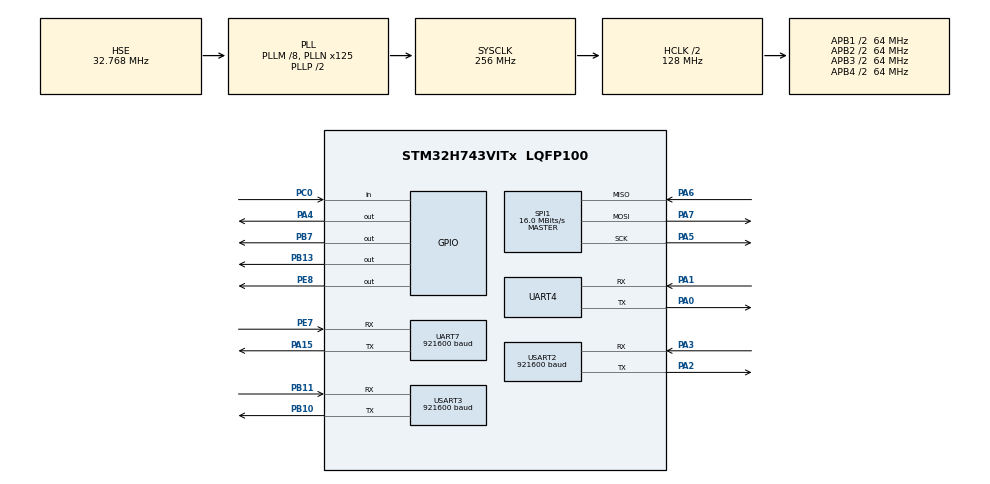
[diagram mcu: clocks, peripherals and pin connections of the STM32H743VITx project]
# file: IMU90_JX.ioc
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CORTEX_M7.default_mode_Activation=1
Dma.Request0=USART2_TX
Dma.Request1=USART3_TX
Dma.Request2=UART4_TX
Dma.Request3=UART7_RX
Dma.UART4_TX.2.Direction=DMA_MEMORY_TO_PERIPH
Dma.UART4_TX.2.EventEnable=DISABLE
Dma.UART4_TX.2.FIFOMode=DMA_FIFOMODE_DISABLE
Dma.UART4_TX.2.Instance=DMA1_Stream2
Dma.UART4_TX.2.MemDataAlignment=DMA_MDATAALIGN_BYTE
Dma.UART4_TX.2.MemInc=DMA_MINC_ENABLE
Dma.UART4_TX.2.Mode=DMA_NORMAL
Dma.UART4_TX.2.PeriphDataAlignment=DMA_PDATAALIGN_BYTE
Dma.UART4_TX.2.PeriphInc=DMA_PINC_DISABLE
Dma.UART4_TX.2.Polarity=HAL_DMAMUX_REQ_GEN_RISING
Dma.UART4_TX.2.Priority=DMA_PRIORITY_LOW
Dma.UART4_TX.2.RequestNumber=1
Dma.UART4_TX.2.SignalID=NONE
Dma.UART4_TX.2.SyncEnable=DISABLE
Dma.UART4_TX.2.SyncPolarity=HAL_DMAMUX_SYNC_NO_EVENT
Dma.UART4_TX.2.SyncRequestNumber=1
Dma.UART4_TX.2.SyncSignalID=NONE
Dma.UART7_RX.3.Direction=DMA_PERIPH_TO_MEMORY
Dma.UART7_RX.3.EventEnable=DISABLE
Dma.UART7_RX.3.FIFOMode=DMA_FIFOMODE_DISABLE
Dma.UART7_RX.3.Instance=DMA1_Stream3
Dma.UART7_RX.3.MemDataAlignment=DMA_MDATAALIGN_BYTE
Dma.UART7_RX.3.MemInc=DMA_MINC_ENABLE
Dma.UART7_RX.3.Mode=DMA_NORMAL
Dma.UART7_RX.3.PeriphDataAlignment=DMA_PDATAALIGN_BYTE
Dma.UART7_RX.3.PeriphInc=DMA_PINC_DISABLE
Dma.UART7_RX.3.Polarity=HAL_DMAMUX_REQ_GEN_RISING
Dma.UART7_RX.3.Priority=DMA_PRIORITY_HIGH
Dma.UART7_RX.3.RequestNumber=1
Dma.UART7_RX.3.SignalID=NONE
Dma.UART7_RX.3.SyncEnable=DISABLE
Dma.UART7_RX.3.SyncPolarity=HAL_DMAMUX_SYNC_NO_EVENT
Dma.UART7_RX.3.SyncRequestNumber=1
Dma.UART7_RX.3.SyncSignalID=NONE
Dma.USART2_TX.0.Direction=DMA_MEMORY_TO_PERIPH
Dma.USART2_TX.0.EventEnable=DISABLE
Dma.USART2_TX.0.FIFOMode=DMA_FIFOMODE_DISABLE
Dma.USART2_TX.0.Instance=DMA1_Stream1
Dma.USART2_TX.0.MemDataAlignment=DMA_MDATAALIGN_BYTE
Dma.USART2_TX.0.MemInc=DMA_MINC_ENABLE
Dma.USART2_TX.0.Mode=DMA_NORMAL
Dma.USART2_TX.0.PeriphDataAlignment=DMA_PDATAALIGN_BYTE
Dma.USART2_TX.0.PeriphInc=DMA_PINC_DISABLE
Dma.USART2_TX.0.Polarity=HAL_DMAMUX_REQ_GEN_RISING
Dma.USART2_TX.0.Priority=DMA_PRIORITY_LOW
Dma.USART2_TX.0.RequestNumber=1
Dma.USART2_TX.0.SignalID=NONE
Dma.USART2_TX.0.SyncEnable=DISABLE
Dma.USART2_TX.0.SyncPolarity=HAL_DMAMUX_SYNC_NO_EVENT
Dma.USART2_TX.0.SyncRequestNumber=1
Dma.USART2_TX.0.SyncSignalID=NONE
Dma.USART3_TX.1.Direction=DMA_MEMORY_TO_PERIPH
Dma.USART3_TX.1.EventEnable=DISABLE
Dma.USART3_TX.1.FIFOMode=DMA_FIFOMODE_DISABLE
Dma.USART3_TX.1.Instance=DMA1_Stream0
Dma.USART3_TX.1.MemDataAlignment=DMA_MDATAALIGN_BYTE
Dma.USART3_TX.1.MemInc=DMA_MINC_ENABLE
Dma.USART3_TX.1.Mode=DMA_NORMAL
Dma.USART3_TX.1.PeriphDataAlignment=DMA_PDATAALIGN_BYTE
Dma.USART3_TX.1.PeriphInc=DMA_PINC_DISABLE
Dma.USART3_TX.1.Polarity=HAL_DMAMUX_REQ_GEN_RISING
Dma.USART3_TX.1.Priority=DMA_PRIORITY_LOW
Dma.USART3_TX.1.RequestNumber=1
Dma.USART3_TX.1.SignalID=NONE
Dma.USART3_TX.1.SyncEnable=DISABLE
Dma.USART3_TX.1.SyncPolarity=HAL_DMAMUX_SYNC_NO_EVENT
Dma.USART3_TX.1.SyncRequestNumber=1
Dma.USART3_TX.1.SyncSignalID=NONE
Mcu.Family=STM32H7
Mcu.Name=STM32H743VITx
Mcu.Package=LQFP100
NVIC.DMA1_Stream0_IRQn=true\:0\:0\:false\:false\:true\:false\:true\:true
NVIC.DMA1_Stream1_IRQn=true\:0\:0\:false\:false\:true\:false\:true\:true
NVIC.DMA1_Stream2_IRQn=true\:0\:0\:false\:false\:true\:false\:true\:true
NVIC.DMA1_Stream3_IRQn=true\:0\:0\:false\:false\:true\:false\:true\:true
NVIC.PriorityGroup=NVIC_PRIORITYGROUP_4
NVIC.SPI1_IRQn=true\:0\:0\:false\:false\:true\:true\:true\:true
NVIC.TIM2_IRQn=true\:0\:0\:false\:false\:true\:true\:true\:true
NVIC.TIM3_IRQn=true\:0\:0\:false\:false\:true\:true\:true\:true
NVIC.UART4_IRQn=true\:0\:0\:false\:false\:true\:true\:true\:true
NVIC.UART7_IRQn=true\:0\:0\:false\:false\:true\:true\:true\:true
NVIC.USART2_IRQn=true\:0\:0\:false\:false\:true\:true\:true\:true
NVIC.USART3_IRQn=true\:0\:0\:false\:false\:true\:true\:true\:true
PA0.Mode=Asynchronous
PA0.Signal=UART4_TX
PA1.Mode=Asynchronous
PA1.Signal=UART4_RX
PA15\ (JTDI).Mode=Asynchronous
PA15\ (JTDI).Signal=UART7_TX
PA2.Mode=Asynchronous
PA2.Signal=USART2_TX
PA3.Mode=Asynchronous
PA3.Signal=USART2_RX
PA4.Signal=GPIO_Output
PA5.Mode=Full_Duplex_Master
PA5.Signal=SPI1_SCK
PA6.Mode=Full_Duplex_Master
PA6.Signal=SPI1_MISO
PA7.Mode=Full_Duplex_Master
PA7.Signal=SPI1_MOSI
PB10.Mode=Asynchronous
PB10.Signal=USART3_TX
PB11.Mode=Asynchronous
PB11.Signal=USART3_RX
PB13.Signal=GPIO_Output
PB7.GPIO_PuPd=GPIO_PULLUP
PB7.Signal=GPIO_Output
PC0.GPIO_PuPd=GPIO_PULLUP
PC0.Signal=GPIO_Input
PE7.Mode=Asynchronous
PE7.Signal=UART7_RX
PE8.Signal=GPIO_Output
PH0-OSC_IN\ (PH0).Mode=HSE-External-Oscillator
PH0-OSC_IN\ (PH0).Signal=RCC_OSC_IN
PH1-OSC_OUT\ (PH1).Mode=HSE-External-Oscillator
PH1-OSC_OUT\ (PH1).Signal=RCC_OSC_OUT
ProjectManager.HeapSize=0x200
ProjectManager.StackSize=0x400
ProjectManager.TargetToolchain=MDK-ARM V5.32
RCC.ADCFreq_Value=256000000
RCC.APB1Freq_Value=64000000
RCC.APB2Freq_Value=64000000
RCC.APB3Freq_Value=64000000
RCC.APB4Freq_Value=64000000
RCC.CortexFreq_Value=256000000
RCC.D1PPRE=RCC_APB3_DIV2
RCC.D2PPRE1=RCC_APB1_DIV2
RCC.D2PPRE2=RCC_APB2_DIV2
RCC.D3PPRE=RCC_APB4_DIV2
RCC.DIVM1=8
RCC.DIVM2=8
RCC.DIVM3=8
RCC.DIVN1=125
RCC.DIVN2=125
RCC.DIVN3=125
RCC.DIVQ1=4
RCC.HCLKFreq_Value=128000000
RCC.HPRE=RCC_HCLK_DIV2
RCC.HSE_VALUE=32768000
RCC.PLLFRACN=0
RCC.PLLSourceVirtual=RCC_PLLSOURCE_HSE
RCC.PWR_Regulator_Voltage_Scale=PWR_REGULATOR_VOLTAGE_SCALE2
RCC.SYSCLKFreq_VALUE=256000000
RCC.SYSCLKSource=RCC_SYSCLKSOURCE_PLLCLK
RCC.USBFreq_Value=128000000
SPI1.BaudRatePrescaler=SPI_BAUDRATEPRESCALER_8
SPI1.CalculateBaudRate=16.0 MBits/s
SPI1.DataSize=SPI_DATASIZE_8BIT
SPI1.Direction=SPI_DIRECTION_2LINES
SPI1.Mode=SPI_MODE_MASTER
SPI1.TIMode=SPI_TIMODE_DISABLE
SPI1.VirtualType=VM_MASTER
TIM2.AutoReloadPreload=TIM_AUTORELOAD_PRELOAD_ENABLE
TIM2.ClockDivision=TIM_CLOCKDIVISION_DIV2
TIM2.Period=639
TIM2.Prescaler=9
TIM3.AutoReloadPreload=TIM_AUTORELOAD_PRELOAD_ENABLE
TIM3.ClockDivision=TIM_CLOCKDIVISION_DIV2
TIM3.Period=639
TIM3.Prescaler=9
UART7.BaudRate=921600
UART7.Parity=PARITY_EVEN
UART7.WordLength=WORDLENGTH_9B
USART2.BaudRate=921600
USART2.VirtualMode-Asynchronous=VM_ASYNC
USART3.BaudRate=921600
USART3.VirtualMode-Asynchronous=VM_ASYNC
VP_TIM2_VS_ClockSourceINT.Mode=Internal
VP_TIM3_VS_ClockSourceINT.Mode=Internal
board=custom

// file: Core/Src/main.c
/* USER CODE BEGIN Header */
/**
  ******************************************************************************
  * @file           : main.c
  * @brief          : Main program body
  ******************************************************************************
  * @attention
  *
  * Copyright (c) 2022 STMicroelectronics.
  * All rights reserved.
  *
  * This software is licensed under terms that can be found in the LICENSE file
  * in the root directory of this software component.
  * If no LICENSE file comes with this software, it is provided AS-IS.
  *
  ******************************************************************************
  */
/* USER CODE END Header */
#include "main.h"
#include "dma.h"
#include "spi.h"
#include "tim.h"
#include "usart.h"
#include "gpio.h"

/* USER CODE BEGIN Includes */
#include "sys.h"
#include "delay.h"
#include <string.h>
#include "bsp_ADXL355.h"
/* USER CODE END Includes */

void SystemClock_Config(void);
static void MPU_Config(void);

/* USER CODE BEGIN 0 */
extern uint8_t rx7_flag;
extern uint8_t rx7_size;          //receive length
extern uint8_t  rx7_buf[32];
//extern __attribute__((section (".RAM_D1"))) uint8_t  RX7_Data[32];
extern uint8_t  RX7_Data[32];
int32_t gx,gy,gz,wx,wy,wz;
float fgx,fgy,fgz;
int16_t te;
uint8_t zjs;
uint8_t GyroyOk;
int32_t ax,ay,az;
int32_t acce_data[3];

typedef struct {
    float b0, b1, b2, a1, a2;
    float b0_2, b1_2, b2_2, a1_2, a2_2;

    float x1, x2;
    float y1, y2;
    float x1_2, x2_2;
    float y1_2, y2_2;
} IIRFilter3rdOrder;

void IIRFilter3rdOrder_Init(IIRFilter3rdOrder *filter) {
    filter->b0 = 0.0097087378640777;
    filter->b1 = 0.029126213592233;
    filter->b2 = 0.029126213592233;
    filter->a1 = -1.561018075800718;
    filter->a2 = 0.641351538057563;

    filter->b0_2 = 1.0;
    filter->b1_2 = -1.7786312485217;
    filter->b2_2 = 0.800800564739853;
    filter->a1_2 = -1.8477590650226;
    filter->a2_2 = 0.8612094900000;

    filter->x1 = filter->x2 = 0.0f;
    filter->y1 = filter->y2 = 0.0f;
    filter->x1_2 = filter->x2_2 = 0.0f;
    filter->y1_2 = filter->y2_2 = 0.0f;
}

float IIRFilter3rdOrder_Process(IIRFilter3rdOrder *filter, float input) {
    float w = input - filter->a1 * filter->x1 - filter->a2 * filter->x2;
    float y = filter->b0 * w + filter->b1 * filter->x1 + filter->b2 * filter->x2;

    filter->x2 = filter->x1;
    filter->x1 = w;
    filter->y2 = filter->y1;
    filter->y1 = y;

    float w2 = y - filter->a1_2 * filter->x1_2 - filter->a2_2 * filter->x2_2;
    float y2 = filter->b0_2 * w2 + filter->b1_2 * filter->x1_2 + filter->b2_2 * filter->x2_2;

    filter->x2_2 = filter->x1_2;
    filter->x1_2 = w2;
    filter->y2_2 = filter->y1_2;
    filter->y1_2 = y2;

    return y2;
}

extern UART_HandleTypeDef huart2;
extern UART_HandleTypeDef huart3;
extern UART_HandleTypeDef huart4;
#define SEND_BUF_SIZE 64	//�������ݳ���,��õ���sizeof(TEXT_TO_SEND)+2��������.
uint8_t  SendBuff[SEND_BUF_SIZE]; //�������ݻ�����
int32_t nIMU[9];

void uart2_send();

// ...existing code...
/* USER CODE BEGIN 4 */

/**
 * A: 3x3 矩阵，类型 float
 * b: 3x1 矩阵，表示为二维数组 float b[3][1]
 * res: 输出 3x1 矩阵，表示为二维数组 float res[3][1]
 */
float A[3][3] = {
    {1.0f, 0.0f, 0.0f},
    {0.0f, 1.0f, 0.0f},
    {0.0f, 0.0f, 1.0f}
};
float res[3][1];
float b[3][1] = {
    {1.0f},
    {2.0f},
    {3.0f}
};
void mat3x3_mul_3x1(const float A[3][3], const float b[3][1], float res[3][1])
{
    for (int i = 0; i < 3; ++i) {
        res[i][0] = A[i][0] * b[0][0]
                  + A[i][1] * b[1][0]
                  + A[i][2] * b[2][0];
    }
}

/* USER CODE END 4 */
// ...existing code...

void led_run()
{
	static u32 cnt=0;
	static u32 cnt1=0;
	static u32 cnt2=0;

	//HAL_GPIO_TogglePin(GPIOC,GPIO_PIN_0);

	if(cnt>=9999)
	{
		cnt=0;
		HAL_GPIO_TogglePin(GPIOB,GPIO_PIN_7);
	}
	else
	{
		cnt++;
	}

//	if(cnt2>=9)
//	{
//		cnt2=0;
//		HAL_GPIO_TogglePin(GPIOE,GPIO_PIN_8);
//	}
//	else
//	{
//		cnt2++;
//	}

	if(cnt1>=99)
	{
		cnt1=0;
//		ADXL355_Data_Scan(acce_data);
//		ax=acce_data[0];
//		ay=acce_data[1];
//		az=acce_data[2];
//		uart2_send();
	}
	else
	{
		cnt1++;
	}
}

void timer_run()
{

}

void uart2_send()
{
	static uint8_t cnt=0;

	SendBuff[0]=0xAA;
	SendBuff[1]=0xAA;
	SendBuff[2]=0x00;
	SendBuff[3]=0xFF;
	SendBuff[30]=0;
	SendBuff[31]=0xBB;
	cnt++;
	SendBuff[2]=cnt;

  b[0][0]=(float)gx;
  b[1][0]=(float)gy;
  b[2][0]=(float)gz;
  mat3x3_mul_3x1(A, b, res);
  nIMU[3]=(int32_t)(res[2][0]);
  nIMU[4]=(int32_t)(res[1][0]);
  nIMU[5]=(int32_t)(res[0][0]);

//	nIMU[3]=gz;
//	nIMU[4]=gy;
//	nIMU[5]=gx;
	nIMU[0]=ax;
	nIMU[1]=ay;
	nIMU[2]=az;
	memcpy(SendBuff+4,nIMU,24);
	memcpy(SendBuff+28,&te,2);

	//SendBuff[26]=zjs;
	for(int i=2;i<30;i++)
  {
	   SendBuff[30] = SendBuff[30]+SendBuff[i];
	}
	HAL_UART_Transmit_DMA(&huart3,(uint8_t *)SendBuff,32);
//	SendBuff[0]=0xA5;
//	SendBuff[1]=0;
//	SendBuff[39]=0;
//	cnt++;
//	SendBuff[1]=cnt;
//
//	nIMU[0]=wz;
//	nIMU[1]=wy;
//	nIMU[2]=wx;
//	nIMU[3]=ax;
//	nIMU[4]=ay;
//	nIMU[5]=az;
//	nIMU[6]=gz;
//	nIMU[7]=gy;
//	nIMU[8]=gx;
//	memcpy(SendBuff+2,nIMU,36);
//
//	SendBuff[38]=zjs;
//	for(int i=1;i<39;i++)
//  {
//	   SendBuff[39] = SendBuff[39]+SendBuff[i];
//	}
	HAL_UART_Transmit_DMA(&huart2,(uint8_t *)SendBuff,28);
//	HAL_UART_Transmit_DMA(&huart3,(uint8_t *)SendBuff,28);
//	HAL_UART_Transmit_DMA(&huart4,(uint8_t *)SendBuff,28);
}

//void gyro_rec(void)
//{
//	uint8_t sum=0;
//	uint8_t i = 0;
//	uint32_t gdata;
//	uint16_t tdata;
//	static int32_t gx_o=0,gy_o=0,gz_o=0;
//	static uint8_t zjs_o=0;

//	if(rx7_flag==1)
//	{
//		rx7_flag = 0;

//		if(RX7_Data[0]==0xA5)
//		{
//			sum =  0;
//
//			for(i = 1;i < 16; i++)
//			{
//				sum += RX7_Data[i];
//			}
//			if(((sum & 0xff) == RX7_Data[16]))
//			{
//				GyroyOk = 1;
//				gdata  = (uint32_t)(RX7_Data[4]);
//				gdata |= (uint32_t)(RX7_Data[3])<<8;
//				gdata |= (uint32_t)(RX7_Data[2])<<16;
//				gdata |= (uint32_t)(RX7_Data[1])<<24;
//				memcpy(&gx,&gdata,4);
//				gdata  = (uint32_t)(RX7_Data[8]);
//				gdata |= (uint32_t)(RX7_Data[7])<<8;
//				gdata |= (uint32_t)(RX7_Data[6])<<16;
//				gdata |= (uint32_t)(RX7_Data[5])<<24;
//				memcpy(&gy,&gdata,4);
//				gdata  = (uint32_t)(RX7_Data[12]);
//				gdata |= (uint32_t)(RX7_Data[11])<<8;
//				gdata |= (uint32_t)(RX7_Data[10])<<16;
//				gdata |= (uint32_t)( RX7_Data[9])<<24;
//				memcpy(&gz,&gdata,4);
//
//				tdata  = (uint32_t)(RX7_Data[14]);
//				tdata |= (uint32_t)(RX7_Data[13])<<8;
//				memcpy(&te,&tdata,2);
//
//				zjs = RX7_Data[15];
//
////				wx=gx-gx_o;
////				wy=gy-gy_o;
////				wz=gz-gz_o;
////				gx_o=gx;
////				gy_o=gy;
////				gz_o=gz;
//		  }
//	  }
//	}
//}

void gyro_rec(void)
{
	uint8_t sum=0;
	uint8_t i = 0;
	uint32_t gdata;
	uint16_t tdata;

	if(rx7_flag==1)
	{
		rx7_flag = 0;

		if(RX7_Data[0]==0x80)
		{
			sum =  0;

			for(i = 1;i < 16; i++)
			{
				sum += RX7_Data[i];
			}
			if(((sum & 0x7f) == RX7_Data[16]))
			{
				GyroyOk = 1;
				gdata  = (uint32_t)(RX7_Data[4] & 0x7f)<<4;
				gdata |= (uint32_t)(RX7_Data[3] & 0x7f)<<11;
				gdata |= (uint32_t)(RX7_Data[2] & 0x7f)<<18;
				gdata |= (uint32_t)(RX7_Data[1] & 0x7f)<<25;
				memcpy(&gx,&gdata,4);
				gx=gx>>4;
				gdata  = (uint32_t)(RX7_Data[8] & 0x7f)<<4;
				gdata |= (uint32_t)(RX7_Data[7] & 0x7f)<<11;
				gdata |= (uint32_t)(RX7_Data[6] & 0x7f)<<18;
				gdata |= (uint32_t)(RX7_Data[5] & 0x7f)<<25;
				memcpy(&gy,&gdata,4);
				gy=gy>>4;
				gdata  = (uint32_t)(RX7_Data[12] & 0x7f)<<4;
				gdata |= (uint32_t)(RX7_Data[11] & 0x7f)<<11;
				gdata |= (uint32_t)(RX7_Data[10] & 0x7f)<<18;
				gdata |= (uint32_t)(RX7_Data[ 9] & 0x7f)<<25;
				memcpy(&gz,&gdata,4);
				gz=gz>>4;

				tdata  = (uint32_t)(RX7_Data[14] & 0x7f)<<2;
				tdata |= (uint32_t)(RX7_Data[13] & 0x7f)<<9;
				memcpy(&te,&tdata,2);
				te=te>>2;
		  }
	  }
	}
}
/* USER CODE END 0 */

int main(void)
{

  /* MPU Configuration--------------------------------------------------------*/
  MPU_Config();

  /* MCU Configuration--------------------------------------------------------*/

  /* Reset of all peripherals, Initializes the Flash interface and the Systick. */
  HAL_Init();

  /* Configure the system clock */
  SystemClock_Config();

  /* Initialize all configured peripherals */
  MX_GPIO_Init();
  MX_DMA_Init();
  MX_TIM2_Init();
  MX_TIM3_Init();
  MX_UART7_Init();
  MX_USART2_UART_Init();
  MX_SPI1_Init();
  MX_USART3_UART_Init();
  MX_UART4_Init();
  /* USER CODE BEGIN 2 */
	ADXL355_Init();
	delay_ms(30);
	ADXL355_Start_Sensor();

	IIRFilter3rdOrder filter;
  IIRFilter3rdOrder_Init(&filter);
  /* USER CODE END 2 */

  /* Infinite loop */
  while (1)
  {

    /* USER CODE BEGIN 3 */
		gyro_rec();
		if(GyroyOk)
		{
			GyroyOk=0;
			ADXL355_Data_Scan(acce_data);
			ax=acce_data[0];
			ay=acce_data[1];
			az=acce_data[2];
			//fgx = IIRFilter3rdOrder_Process(&filter, (float)gx);
			//fgy = IIRFilter3rdOrder_Process(&filter, (float)gy);
			//fgz = IIRFilter3rdOrder_Process(&filter, (float)gz);
			uart2_send();
			//uart2_send();
		}
  }
  /* USER CODE END 3 */
}

void SystemClock_Config(void)
{
  RCC_OscInitTypeDef RCC_OscInitStruct = {0};
  RCC_ClkInitTypeDef RCC_ClkInitStruct = {0};

  /** Supply configuration update enable
  */
  HAL_PWREx_ConfigSupply(PWR_LDO_SUPPLY);

  /** Configure the main internal regulator output voltage
  */
  __HAL_PWR_VOLTAGESCALING_CONFIG(PWR_REGULATOR_VOLTAGE_SCALE2);

  while(!__HAL_PWR_GET_FLAG(PWR_FLAG_VOSRDY)) {}

  /** Initializes the RCC Oscillators according to the specified parameters
  * in the RCC_OscInitTypeDef structure.
  */
  RCC_OscInitStruct.OscillatorType = RCC_OSCILLATORTYPE_HSE;
  RCC_OscInitStruct.HSEState = RCC_HSE_ON;
  RCC_OscInitStruct.PLL.PLLState = RCC_PLL_ON;
  RCC_OscInitStruct.PLL.PLLSource = RCC_PLLSOURCE_HSE;
  RCC_OscInitStruct.PLL.PLLM = 8;
  RCC_OscInitStruct.PLL.PLLN = 125;
  RCC_OscInitStruct.PLL.PLLP = 2;
  RCC_OscInitStruct.PLL.PLLQ = 4;
  RCC_OscInitStruct.PLL.PLLR = 2;
  RCC_OscInitStruct.PLL.PLLRGE = RCC_PLL1VCIRANGE_2;
  RCC_OscInitStruct.PLL.PLLVCOSEL = RCC_PLL1VCOWIDE;
  RCC_OscInitStruct.PLL.PLLFRACN = 0;
  if (HAL_RCC_OscConfig(&RCC_OscInitStruct) != HAL_OK)
  {
    Error_Handler();
  }

  /** Initializes the CPU, AHB and APB buses clocks
  */
  RCC_ClkInitStruct.ClockType = RCC_CLOCKTYPE_HCLK|RCC_CLOCKTYPE_SYSCLK
                              |RCC_CLOCKTYPE_PCLK1|RCC_CLOCKTYPE_PCLK2
                              |RCC_CLOCKTYPE_D3PCLK1|RCC_CLOCKTYPE_D1PCLK1;
  RCC_ClkInitStruct.SYSCLKSource = RCC_SYSCLKSOURCE_PLLCLK;
  RCC_ClkInitStruct.SYSCLKDivider = RCC_SYSCLK_DIV1;
  RCC_ClkInitStruct.AHBCLKDivider = RCC_HCLK_DIV2;
  RCC_ClkInitStruct.APB3CLKDivider = RCC_APB3_DIV2;
  RCC_ClkInitStruct.APB1CLKDivider = RCC_APB1_DIV2;
  RCC_ClkInitStruct.APB2CLKDivider = RCC_APB2_DIV2;
  RCC_ClkInitStruct.APB4CLKDivider = RCC_APB4_DIV2;

  if (HAL_RCC_ClockConfig(&RCC_ClkInitStruct, FLASH_LATENCY_2) != HAL_OK)
  {
    Error_Handler();
  }
}

/* MPU Configuration */

void MPU_Config(void)
{
  MPU_Region_InitTypeDef MPU_InitStruct = {0};

  /* Disables the MPU */
  HAL_MPU_Disable();

  /** Initializes and configures the Region and the memory to be protected
  */
  MPU_InitStruct.Enable = MPU_REGION_ENABLE;
  MPU_InitStruct.Number = MPU_REGION_NUMBER0;
  MPU_InitStruct.BaseAddress = 0x0;
  MPU_InitStruct.Size = MPU_REGION_SIZE_4GB;
  MPU_InitStruct.SubRegionDisable = 0x87;
  MPU_InitStruct.TypeExtField = MPU_TEX_LEVEL0;
  MPU_InitStruct.AccessPermission = MPU_REGION_NO_ACCESS;
  MPU_InitStruct.DisableExec = MPU_INSTRUCTION_ACCESS_DISABLE;
  MPU_InitStruct.IsShareable = MPU_ACCESS_SHAREABLE;
  MPU_InitStruct.IsCacheable = MPU_ACCESS_NOT_CACHEABLE;
  MPU_InitStruct.IsBufferable = MPU_ACCESS_NOT_BUFFERABLE;

  HAL_MPU_ConfigRegion(&MPU_InitStruct);
  /* Enables the MPU */
  HAL_MPU_Enable(MPU_PRIVILEGED_DEFAULT);

}

void Error_Handler(void)
{
  __disable_irq();
  while (1)
  {
  }
}
